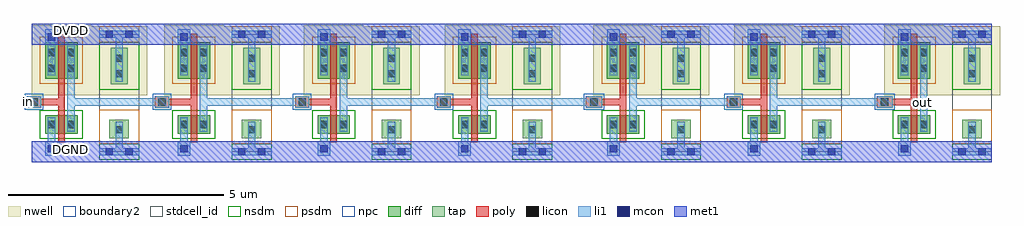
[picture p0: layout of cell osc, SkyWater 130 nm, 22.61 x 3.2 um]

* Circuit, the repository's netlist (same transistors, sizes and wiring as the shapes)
** sch_path: /home/student/ee5311/tutorial_4/q2/osc.sch
**.subckt osc DVDD in out DGND
*.ipin in
*.iopin DVDD
*.iopin DGND
*.opin out
XM1 net1 in DVDD DVDD sky130_fd_pr__pfet_01v8 L=0.15 W=0.84 nf=1 ad='int((nf+1)/2) * W/nf * 0.29' as='int((nf+2)/2) * W/nf * 0.29'
+ pd='2*int((nf+1)/2) * (W/nf + 0.29)' ps='2*int((nf+2)/2) * (W/nf + 0.29)' nrd='0.29 / W' nrs='0.29 / W' sa=0 sb=0 sd=0 mult=1
XM2 net1 in DGND DGND sky130_fd_pr__nfet_01v8 L=0.15 W=0.42 nf=1 ad='int((nf+1)/2) * W/nf * 0.29' as='int((nf+2)/2) * W/nf * 0.29'
+ pd='2*int((nf+1)/2) * (W/nf + 0.29)' ps='2*int((nf+2)/2) * (W/nf + 0.29)' nrd='0.29 / W' nrs='0.29 / W' sa=0 sb=0 sd=0 mult=1
XM3 net2 net1 DVDD DVDD sky130_fd_pr__pfet_01v8 L=0.15 W=0.84 nf=1 ad='int((nf+1)/2) * W/nf * 0.29' as='int((nf+2)/2) * W/nf * 0.29'
+ pd='2*int((nf+1)/2) * (W/nf + 0.29)' ps='2*int((nf+2)/2) * (W/nf + 0.29)' nrd='0.29 / W' nrs='0.29 / W' sa=0 sb=0 sd=0 mult=1
XM4 net2 net1 DGND DGND sky130_fd_pr__nfet_01v8 L=0.15 W=0.42 nf=1 ad='int((nf+1)/2) * W/nf * 0.29' as='int((nf+2)/2) * W/nf * 0.29'
+ pd='2*int((nf+1)/2) * (W/nf + 0.29)' ps='2*int((nf+2)/2) * (W/nf + 0.29)' nrd='0.29 / W' nrs='0.29 / W' sa=0 sb=0 sd=0 mult=1
XM5 net3 net2 DVDD DVDD sky130_fd_pr__pfet_01v8 L=0.15 W=0.84 nf=1 ad='int((nf+1)/2) * W/nf * 0.29' as='int((nf+2)/2) * W/nf * 0.29'
+ pd='2*int((nf+1)/2) * (W/nf + 0.29)' ps='2*int((nf+2)/2) * (W/nf + 0.29)' nrd='0.29 / W' nrs='0.29 / W' sa=0 sb=0 sd=0 mult=1
XM6 net3 net2 DGND DGND sky130_fd_pr__nfet_01v8 L=0.15 W=0.42 nf=1 ad='int((nf+1)/2) * W/nf * 0.29' as='int((nf+2)/2) * W/nf * 0.29'
+ pd='2*int((nf+1)/2) * (W/nf + 0.29)' ps='2*int((nf+2)/2) * (W/nf + 0.29)' nrd='0.29 / W' nrs='0.29 / W' sa=0 sb=0 sd=0 mult=1
XM7 net4 net3 DVDD DVDD sky130_fd_pr__pfet_01v8 L=0.15 W=0.84 nf=1 ad='int((nf+1)/2) * W/nf * 0.29' as='int((nf+2)/2) * W/nf * 0.29'
+ pd='2*int((nf+1)/2) * (W/nf + 0.29)' ps='2*int((nf+2)/2) * (W/nf + 0.29)' nrd='0.29 / W' nrs='0.29 / W' sa=0 sb=0 sd=0 mult=1
XM8 net4 net3 DGND DGND sky130_fd_pr__nfet_01v8 L=0.15 W=0.42 nf=1 ad='int((nf+1)/2) * W/nf * 0.29' as='int((nf+2)/2) * W/nf * 0.29'
+ pd='2*int((nf+1)/2) * (W/nf + 0.29)' ps='2*int((nf+2)/2) * (W/nf + 0.29)' nrd='0.29 / W' nrs='0.29 / W' sa=0 sb=0 sd=0 mult=1
XM9 net5 net4 DVDD DVDD sky130_fd_pr__pfet_01v8 L=0.15 W=0.84 nf=1 ad='int((nf+1)/2) * W/nf * 0.29' as='int((nf+2)/2) * W/nf * 0.29'
+ pd='2*int((nf+1)/2) * (W/nf + 0.29)' ps='2*int((nf+2)/2) * (W/nf + 0.29)' nrd='0.29 / W' nrs='0.29 / W' sa=0 sb=0 sd=0 mult=1
XM10 net5 net4 DGND DGND sky130_fd_pr__nfet_01v8 L=0.15 W=0.42 nf=1 ad='int((nf+1)/2) * W/nf * 0.29' as='int((nf+2)/2) * W/nf * 0.29'
+ pd='2*int((nf+1)/2) * (W/nf + 0.29)' ps='2*int((nf+2)/2) * (W/nf + 0.29)' nrd='0.29 / W' nrs='0.29 / W' sa=0 sb=0 sd=0 mult=1
XM11 net6 net5 DVDD DVDD sky130_fd_pr__pfet_01v8 L=0.15 W=0.84 nf=1 ad='int((nf+1)/2) * W/nf * 0.29' as='int((nf+2)/2) * W/nf * 0.29'
+ pd='2*int((nf+1)/2) * (W/nf + 0.29)' ps='2*int((nf+2)/2) * (W/nf + 0.29)' nrd='0.29 / W' nrs='0.29 / W' sa=0 sb=0 sd=0 mult=1
XM12 net6 net5 DGND DGND sky130_fd_pr__nfet_01v8 L=0.15 W=0.42 nf=1 ad='int((nf+1)/2) * W/nf * 0.29' as='int((nf+2)/2) * W/nf * 0.29'
+ pd='2*int((nf+1)/2) * (W/nf + 0.29)' ps='2*int((nf+2)/2) * (W/nf + 0.29)' nrd='0.29 / W' nrs='0.29 / W' sa=0 sb=0 sd=0 mult=1
XM13 out net6 DVDD DVDD sky130_fd_pr__pfet_01v8 L=0.15 W=0.84 nf=1 ad='int((nf+1)/2) * W/nf * 0.29' as='int((nf+2)/2) * W/nf * 0.29'
+ pd='2*int((nf+1)/2) * (W/nf + 0.29)' ps='2*int((nf+2)/2) * (W/nf + 0.29)' nrd='0.29 / W' nrs='0.29 / W' sa=0 sb=0 sd=0 mult=1
XM14 out net6 DGND DGND sky130_fd_pr__nfet_01v8 L=0.15 W=0.42 nf=1 ad='int((nf+1)/2) * W/nf * 0.29' as='int((nf+2)/2) * W/nf * 0.29'
+ pd='2*int((nf+1)/2) * (W/nf + 0.29)' ps='2*int((nf+2)/2) * (W/nf + 0.29)' nrd='0.29 / W' nrs='0.29 / W' sa=0 sb=0 sd=0 mult=1
**.ends
.end

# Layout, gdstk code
import gdstk
lib = gdstk.Library(unit=1e-6, precision=1e-09)
def R(c, l, rs):  # rectangles x0, y0, x1, y1
    for r in rs: c.add(gdstk.rectangle(r[:2], r[2:], *l))
nwell = (64, 20)
diff = (65, 20)
tap = (65, 44)
poly = (66, 20)
licon = (66, 44)
li1 = (67, 20)
mcon = (67, 44)
met1 = (68, 20)
stdcell_id = (81, 4)
nsdm = (93, 44)
psdm = (94, 20)
npc = (95, 20)
boundary2 = (236, 0)

inv = lib.new_cell('inv')

vias_gen_2 = lib.new_cell('vias_gen$2')
R(vias_gen_2, poly, [(0,0,0.33,0.27)])
R(vias_gen_2, licon, [(0.08,0.05,0.25,0.22)])
R(vias_gen_2, li1, [(0,0,0.33,0.27)])
R(vias_gen_2, npc, [(-0.05,-0.05,0.38,0.32)])

vias_gen_1 = lib.new_cell('vias_gen$1')
R(vias_gen_1, li1, [(0,0,0.29,0.335)])
R(vias_gen_1, mcon, [(0.06,0.08,0.23,0.25)])
R(vias_gen_1, met1, [(0,0,0.29,0.335)])

vias_gen = lib.new_cell('vias_gen')
R(vias_gen, li1, [(0,0,0.29,0.36)])
R(vias_gen, mcon, [(0.06,0.095,0.23,0.265)])
R(vias_gen, met1, [(0,0,0.29,0.36)])

nfet = lib.new_cell('nfet')
R(nfet, diff, [(0,0,0.75,0.42)])
R(nfet, poly, [(0.3,-0.2,0.45,0.62)])
R(nfet, licon, [(0.065,0.125,0.235,0.295), (0.515,0.125,0.685,0.295)])
R(nfet, li1, [(0.065,0.045,0.235,0.375), (0.515,0.045,0.685,0.375)])
R(nfet, nsdm, [(-0.125,-0.125,0.875,0.545)])

tap_ = lib.new_cell('tap')
R(tap_, nwell, [(-0.19,1.305,1.11,2.91)])
R(tap_, tap, [(0.235,0.315,0.685,0.735), (0.265,1.565,0.655,2.405)])
R(tap_, licon, [(0.375,0.425,0.545,0.595), (0.375,1.72,0.545,1.89), (0.375,2.08,0.545,2.25)])
R(tap_, li1, [(0,-0.085,0.92,0.085), (0.375,0,0.545,0.69), (0.375,1.625,0.545,2.72), (0,2.635,0.92,2.805)])
R(tap_, mcon, [(0.145,-0.085,0.315,0.085), (0.605,-0.085,0.775,0.085), (0.145,2.635,0.315,2.805), (0.605,2.635,0.775,2.805)])
R(tap_, met1, [(0,-0.24,0.92,0.24), (0,2.48,0.92,2.96)])
R(tap_, stdcell_id, [(0,0,0.92,2.72)])
R(tap_, nsdm, [(0,-0.19,0.92,0.19), (0,1.44,0.92,2.53)])
R(tap_, psdm, [(0,0.19,0.92,0.975), (0,2.53,0.92,2.91)])
R(tap_, boundary2, [(0,0,0.92,2.72)])
tap_.add(gdstk.Label('tap', (0,0), layer=83, texttype=44))

pfet = lib.new_cell('pfet')
R(pfet, nwell, [(-0.315,-0.39,1.065,1.23)])
R(pfet, diff, [(0,0,0.75,0.84)])
R(pfet, poly, [(0.3,-0.2,0.45,1.04)])
R(pfet, licon, [(0.065,0.155,0.235,0.325), (0.515,0.155,0.685,0.325), (0.065,0.515,0.235,0.685), (0.515,0.515,0.685,0.685)])
R(pfet, li1, [(0.065,0.075,0.235,0.765), (0.515,0.075,0.685,0.765)])
R(pfet, psdm, [(-0.125,-0.125,0.875,0.965)])

vias_gen_3 = lib.new_cell('vias_gen$3')
R(vias_gen_3, poly, [(0,0,0.38,0.27)])
R(vias_gen_3, licon, [(0.105,0.05,0.275,0.22)])
R(vias_gen_3, li1, [(0,0,0.38,0.27)])
R(vias_gen_3, npc, [(-0.05,-0.05,0.43,0.32)])

vias_gen_4 = lib.new_cell('vias_gen$4')
R(vias_gen_4, poly, [(0,0,0.365,0.27)])
R(vias_gen_4, licon, [(0.095,0.05,0.265,0.22)])
R(vias_gen_4, li1, [(0,0,0.365,0.27)])
R(vias_gen_4, npc, [(-0.05,-0.05,0.415,0.32)])

osc = lib.new_cell('osc')
osc.add(gdstk.FlexPath([(2.215,-0.01),(1.76,-0.01)], 0.15, ends="flush", simple_path=True, layer=66, datatype=20))  # poly
osc.add(gdstk.FlexPath([(-0.855,-0.01),(-0.52,-0.01)], 0.15, ends="flush", simple_path=True, layer=66, datatype=20))  # poly
osc.add(gdstk.FlexPath([(-0.855,-0.01),(-1.31,-0.01)], 0.15, ends="flush", simple_path=True, layer=66, datatype=20))  # poly
osc.add(gdstk.FlexPath([(-0.445,0.33),(-0.445,-0.125)], 0.15, ends="flush", simple_path=True, layer=66, datatype=20))  # poly
osc.add(gdstk.FlexPath([(2.625,0.33),(2.625,-0.125)], 0.15, ends="flush", simple_path=True, layer=66, datatype=20))  # poly
osc.add(gdstk.FlexPath([(2.215,-0.01),(2.55,-0.01)], 0.15, ends="flush", simple_path=True, layer=66, datatype=20))  # poly
osc.add(gdstk.FlexPath([(19.31,0.33),(19.31,-0.125)], 0.15, ends="flush", simple_path=True, layer=66, datatype=20))  # poly
osc.add(gdstk.FlexPath([(18.9,-0.01),(18.445,-0.01)], 0.15, ends="flush", simple_path=True, layer=66, datatype=20))  # poly
osc.add(gdstk.FlexPath([(18.9,-0.01),(19.235,-0.01)], 0.15, ends="flush", simple_path=True, layer=66, datatype=20))  # poly
osc.add(gdstk.FlexPath([(15.42,-0.01),(15.755,-0.01)], 0.15, ends="flush", simple_path=True, layer=66, datatype=20))  # poly
osc.add(gdstk.FlexPath([(15.42,-0.01),(14.965,-0.01)], 0.15, ends="flush", simple_path=True, layer=66, datatype=20))  # poly
osc.add(gdstk.FlexPath([(15.83,0.33),(15.83,-0.125)], 0.15, ends="flush", simple_path=True, layer=66, datatype=20))  # poly
osc.add(gdstk.FlexPath([(12.57,0.33),(12.57,-0.125)], 0.15, ends="flush", simple_path=True, layer=66, datatype=20))  # poly
osc.add(gdstk.FlexPath([(12.16,-0.01),(11.705,-0.01)], 0.15, ends="flush", simple_path=True, layer=66, datatype=20))  # poly
osc.add(gdstk.FlexPath([(12.16,-0.01),(12.495,-0.01)], 0.15, ends="flush", simple_path=True, layer=66, datatype=20))  # poly
osc.add(gdstk.FlexPath([(9.125,0.33),(9.125,-0.125)], 0.15, ends="flush", simple_path=True, layer=66, datatype=20))  # poly
osc.add(gdstk.FlexPath([(5.865,0.33),(5.865,-0.125)], 0.15, ends="flush", simple_path=True, layer=66, datatype=20))  # poly
osc.add(gdstk.FlexPath([(8.715,-0.01),(8.26,-0.01)], 0.15, ends="flush", simple_path=True, layer=66, datatype=20))  # poly
osc.add(gdstk.FlexPath([(5.455,-0.01),(5,-0.01)], 0.15, ends="flush", simple_path=True, layer=66, datatype=20))  # poly
osc.add(gdstk.FlexPath([(8.715,-0.01),(9.05,-0.01)], 0.15, ends="flush", simple_path=True, layer=66, datatype=20))  # poly
osc.add(gdstk.FlexPath([(5.455,-0.01),(5.79,-0.01)], 0.15, ends="flush", simple_path=True, layer=66, datatype=20))  # poly
osc.add(gdstk.FlexPath([(-0.22,0.605),(-0.22,-0.37),(-0.22,-0.37)], 0.17, ends="flush", simple_path=True, layer=67, datatype=20))  # li1
osc.add(gdstk.FlexPath([(-0.67,-0.7),(-0.67,-1.26)], 0.17, ends="flush", simple_path=True, layer=67, datatype=20))  # li1
osc.add(gdstk.FlexPath([(-0.67,1.295),(-0.67,1.675)], 0.17, ends="flush", simple_path=True, layer=67, datatype=20))  # li1
osc.add(gdstk.FlexPath([(2.01,-0.01),(-0.135,-0.01)], 0.17, ends="flush", simple_path=True, layer=67, datatype=20))  # li1
osc.add(gdstk.FlexPath([(2.01,-0.01),(-0.135,-0.01)], 0.17, ends="flush", simple_path=True, layer=67, datatype=20))  # li1
osc.add(gdstk.FlexPath([(18.81,-0.01),(18.25,-0.01),(16.14,-0.01)], 0.17, ends="flush", simple_path=True, layer=67, datatype=20))  # li1
osc.add(gdstk.FlexPath([(15.295,-0.01),(12.88,-0.01)], 0.17, ends="flush", simple_path=True, layer=67, datatype=20))  # li1
osc.add(gdstk.FlexPath([(12.085,-0.01),(9.81,-0.01),(9.435,-0.01)], 0.17, ends="flush", simple_path=True, layer=67, datatype=20))  # li1
osc.add(gdstk.FlexPath([(8.57,-0.01),(6.175,-0.01)], 0.17, ends="flush", simple_path=True, layer=67, datatype=20))  # li1
osc.add(gdstk.FlexPath([(5.27,-0.01),(2.935,-0.01)], 0.17, ends="flush", simple_path=True, layer=67, datatype=20))  # li1
osc.add(gdstk.FlexPath([(2.4,1.295),(2.4,1.675)], 0.17, ends="flush", simple_path=True, layer=67, datatype=20))  # li1
osc.add(gdstk.FlexPath([(2.4,-0.7),(2.4,-1.26)], 0.17, ends="flush", simple_path=True, layer=67, datatype=20))  # li1
osc.add(gdstk.FlexPath([(2.85,0.605),(2.85,-0.37),(2.85,-0.37)], 0.17, ends="flush", simple_path=True, layer=67, datatype=20))  # li1
osc.add(gdstk.FlexPath([(19.085,1.295),(19.085,1.675)], 0.17, ends="flush", simple_path=True, layer=67, datatype=20))  # li1
osc.add(gdstk.FlexPath([(19.085,-0.7),(19.085,-1.26)], 0.17, ends="flush", simple_path=True, layer=67, datatype=20))  # li1
osc.add(gdstk.FlexPath([(19.535,0.605),(19.535,-0.37),(19.535,-0.37)], 0.17, ends="flush", simple_path=True, layer=67, datatype=20))  # li1
osc.add(gdstk.FlexPath([(16.055,0.605),(16.055,-0.37),(16.055,-0.37)], 0.17, ends="flush", simple_path=True, layer=67, datatype=20))  # li1
osc.add(gdstk.FlexPath([(15.605,-0.7),(15.605,-1.26)], 0.17, ends="flush", simple_path=True, layer=67, datatype=20))  # li1
osc.add(gdstk.FlexPath([(15.605,1.295),(15.605,1.675)], 0.17, ends="flush", simple_path=True, layer=67, datatype=20))  # li1
osc.add(gdstk.FlexPath([(12.345,1.295),(12.345,1.675)], 0.17, ends="flush", simple_path=True, layer=67, datatype=20))  # li1
osc.add(gdstk.FlexPath([(12.345,-0.7),(12.345,-1.26)], 0.17, ends="flush", simple_path=True, layer=67, datatype=20))  # li1
osc.add(gdstk.FlexPath([(12.795,0.605),(12.795,-0.37),(12.795,-0.37)], 0.17, ends="flush", simple_path=True, layer=67, datatype=20))  # li1
osc.add(gdstk.FlexPath([(8.9,1.295),(8.9,1.675)], 0.17, ends="flush", simple_path=True, layer=67, datatype=20))  # li1
osc.add(gdstk.FlexPath([(5.64,1.295),(5.64,1.675)], 0.17, ends="flush", simple_path=True, layer=67, datatype=20))  # li1
osc.add(gdstk.FlexPath([(8.9,-0.7),(8.9,-1.26)], 0.17, ends="flush", simple_path=True, layer=67, datatype=20))  # li1
osc.add(gdstk.FlexPath([(5.64,-0.7),(5.64,-1.26)], 0.17, ends="flush", simple_path=True, layer=67, datatype=20))  # li1
osc.add(gdstk.FlexPath([(9.35,0.605),(9.35,-0.37),(9.35,-0.37)], 0.17, ends="flush", simple_path=True, layer=67, datatype=20))  # li1
osc.add(gdstk.FlexPath([(6.09,0.605),(6.09,-0.37),(6.09,-0.37)], 0.17, ends="flush", simple_path=True, layer=67, datatype=20))  # li1
osc.add(gdstk.FlexPath([(3.505,-1.165),(1.355,-1.165)], 0.48, ends="flush", simple_path=True, layer=68, datatype=20))  # met1
osc.add(gdstk.FlexPath([(3.505,1.555),(1.355,1.555)], 0.48, ends="flush", simple_path=True, layer=68, datatype=20))  # met1
osc.add(gdstk.FlexPath([(0.435,-1.165),(-1.135,-1.165)], 0.48, ends="flush", simple_path=True, layer=68, datatype=20))  # met1
osc.add(gdstk.FlexPath([(0.435,1.555),(-1.135,1.555)], 0.48, ends="flush", simple_path=True, layer=68, datatype=20))  # met1
osc.add(gdstk.FlexPath([(20.19,1.555),(17.63,1.555)], 0.48, ends="flush", simple_path=True, layer=68, datatype=20))  # met1
osc.add(gdstk.FlexPath([(20.19,-1.165),(17.63,-1.165)], 0.48, ends="flush", simple_path=True, layer=68, datatype=20))  # met1
osc.add(gdstk.FlexPath([(16.71,-1.165),(14.37,-1.165)], 0.48, ends="flush", simple_path=True, layer=68, datatype=20))  # met1
osc.add(gdstk.FlexPath([(16.71,1.555),(14.37,1.555)], 0.48, ends="flush", simple_path=True, layer=68, datatype=20))  # met1
osc.add(gdstk.FlexPath([(13.45,1.555),(10.925,1.555)], 0.48, ends="flush", simple_path=True, layer=68, datatype=20))  # met1
osc.add(gdstk.FlexPath([(13.45,-1.165),(10.925,-1.165)], 0.48, ends="flush", simple_path=True, layer=68, datatype=20))  # met1
osc.add(gdstk.FlexPath([(10.005,1.555),(7.665,1.555)], 0.48, ends="flush", simple_path=True, layer=68, datatype=20))  # met1
osc.add(gdstk.FlexPath([(6.745,1.555),(4.425,1.555)], 0.48, ends="flush", simple_path=True, layer=68, datatype=20))  # met1
osc.add(gdstk.FlexPath([(10.005,-1.165),(7.665,-1.165)], 0.48, ends="flush", simple_path=True, layer=68, datatype=20))  # met1
osc.add(gdstk.FlexPath([(6.745,-1.165),(4.425,-1.165)], 0.48, ends="flush", simple_path=True, layer=68, datatype=20))  # met1
osc.add(gdstk.Reference(inv, (-0.185,0.035)))
osc.add(gdstk.Reference(inv, (3.075,0.035)))
osc.add(gdstk.Reference(vias_gen_2, (1.72,-0.145)))
osc.add(gdstk.Reference(vias_gen_2, (-1.245,-0.145)))
osc.add(gdstk.Reference(vias_gen_1, (-0.815,-1.26)))
osc.add(gdstk.Reference(vias_gen, (-0.815,1.315)))
osc.add(gdstk.Reference(nfet, (-0.82,-0.745)))
osc.add(gdstk.Reference(tap_, (0.435,-1.165)))
osc.add(gdstk.Reference(pfet, (-0.82,0.53)))
osc.add(gdstk.Reference(vias_gen_3, (11.705,-0.145)))
osc.add(gdstk.Reference(pfet, (2.25,0.53)))
osc.add(gdstk.Reference(tap_, (3.505,-1.165)))
osc.add(gdstk.Reference(nfet, (2.25,-0.745)))
osc.add(gdstk.Reference(vias_gen, (2.255,1.315)))
osc.add(gdstk.Reference(vias_gen_1, (2.255,-1.26)))
osc.add(gdstk.Reference(pfet, (18.935,0.53)))
osc.add(gdstk.Reference(tap_, (20.19,-1.165)))
osc.add(gdstk.Reference(nfet, (18.935,-0.745)))
osc.add(gdstk.Reference(vias_gen, (18.94,1.315)))
osc.add(gdstk.Reference(vias_gen_1, (18.94,-1.26)))
osc.add(gdstk.Reference(vias_gen_4, (18.445,-0.145)))
osc.add(gdstk.Reference(vias_gen_2, (14.965,-0.145)))
osc.add(gdstk.Reference(vias_gen_1, (15.46,-1.26)))
osc.add(gdstk.Reference(vias_gen, (15.46,1.315)))
osc.add(gdstk.Reference(nfet, (15.455,-0.745)))
osc.add(gdstk.Reference(tap_, (16.71,-1.165)))
osc.add(gdstk.Reference(pfet, (15.455,0.53)))
osc.add(gdstk.Reference(pfet, (12.195,0.53)))
osc.add(gdstk.Reference(tap_, (13.45,-1.165)))
osc.add(gdstk.Reference(nfet, (12.195,-0.745)))
osc.add(gdstk.Reference(vias_gen, (12.2,1.315)))
osc.add(gdstk.Reference(vias_gen_1, (12.2,-1.26)))
osc.add(gdstk.Reference(pfet, (8.75,0.53)))
osc.add(gdstk.Reference(tap_, (10.005,-1.165)))
osc.add(gdstk.Reference(nfet, (8.75,-0.745)))
osc.add(gdstk.Reference(vias_gen, (8.755,1.315)))
osc.add(gdstk.Reference(vias_gen_1, (8.755,-1.26)))
osc.add(gdstk.Reference(vias_gen_2, (8.25,-0.145)))
osc.add(gdstk.Reference(pfet, (5.49,0.53)))
osc.add(gdstk.Reference(tap_, (6.745,-1.165)))
osc.add(gdstk.Reference(nfet, (5.49,-0.745)))
osc.add(gdstk.Reference(vias_gen, (5.495,1.315)))
osc.add(gdstk.Reference(vias_gen_1, (5.495,-1.26)))
osc.add(gdstk.Reference(vias_gen_2, (4.97,-0.145)))
osc.add(gdstk.Label('in', (-1.21,-0.01), layer=67, texttype=5))
osc.add(gdstk.Label('out', (19.505,-0.035), layer=67, texttype=5))
osc.add(gdstk.Label('DGND', (-0.235,-1.11), layer=68, texttype=5))
osc.add(gdstk.Label('DVDD', (-0.21,1.64), layer=68, texttype=5))

lib.write_gds('osc.gds')
